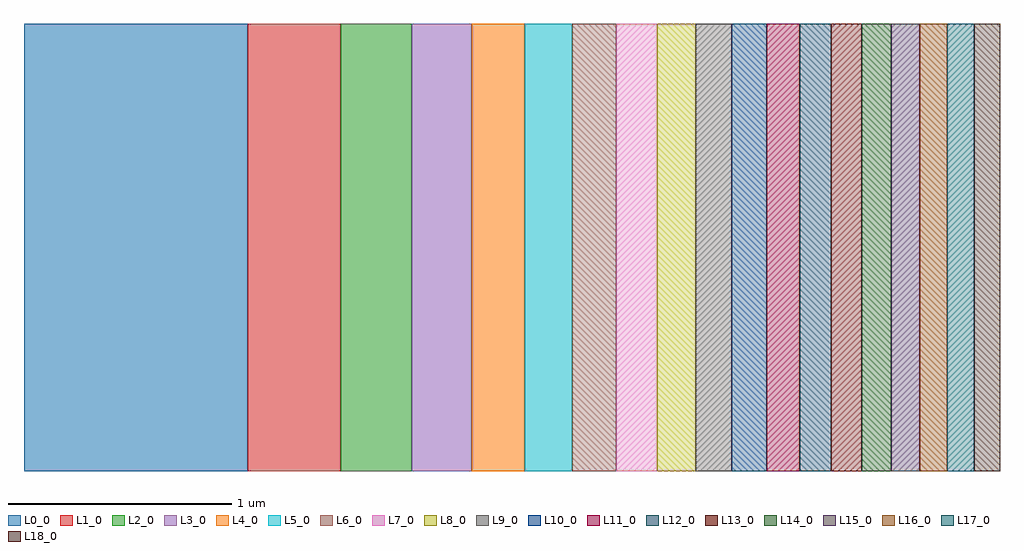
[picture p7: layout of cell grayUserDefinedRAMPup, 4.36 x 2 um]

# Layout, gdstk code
import gdstk
lib = gdstk.Library(unit=1e-6, precision=1e-09)
def R(c, l, rs):  # rectangles x0, y0, x1, y1
    for r in rs: c.add(gdstk.rectangle(r[:2], r[2:], *l))
L0_0 = (0, 0)
L1_0 = (1, 0)
L2_0 = (2, 0)
L3_0 = (3, 0)
L4_0 = (4, 0)
L5_0 = (5, 0)
L6_0 = (6, 0)
L7_0 = (7, 0)
L8_0 = (8, 0)
L9_0 = (9, 0)
L10_0 = (10, 0)
L11_0 = (11, 0)
L12_0 = (12, 0)
L13_0 = (13, 0)
L14_0 = (14, 0)
L15_0 = (15, 0)
L16_0 = (16, 0)
L17_0 = (17, 0)
L18_0 = (18, 0)

grayuserdefinedrampup = lib.new_cell('grayUserDefinedRAMPup')
R(grayuserdefinedrampup, L0_0, [(0,0,1,2)])
R(grayuserdefinedrampup, L1_0, [(1,0,1.414,2)])
R(grayuserdefinedrampup, L2_0, [(1.414,0,1.732,2)])
R(grayuserdefinedrampup, L3_0, [(1.732,0,2,2)])
R(grayuserdefinedrampup, L4_0, [(2,0,2.236,2)])
R(grayuserdefinedrampup, L5_0, [(2.236,0,2.449,2)])
R(grayuserdefinedrampup, L6_0, [(2.449,0,2.646,2)])
R(grayuserdefinedrampup, L7_0, [(2.646,0,2.828,2)])
R(grayuserdefinedrampup, L8_0, [(2.828,0,3,2)])
R(grayuserdefinedrampup, L9_0, [(3,0,3.162,2)])
R(grayuserdefinedrampup, L10_0, [(3.162,0,3.317,2)])
R(grayuserdefinedrampup, L11_0, [(3.317,0,3.464,2)])
R(grayuserdefinedrampup, L12_0, [(3.464,0,3.606,2)])
R(grayuserdefinedrampup, L13_0, [(3.606,0,3.742,2)])
R(grayuserdefinedrampup, L14_0, [(3.742,0,3.873,2)])
R(grayuserdefinedrampup, L15_0, [(3.873,0,4,2)])
R(grayuserdefinedrampup, L16_0, [(4,0,4.123,2)])
R(grayuserdefinedrampup, L17_0, [(4.123,0,4.243,2)])
R(grayuserdefinedrampup, L18_0, [(4.243,0,4.359,2)])

lib.write_gds('grayUserDefinedRAMPup.gds')
